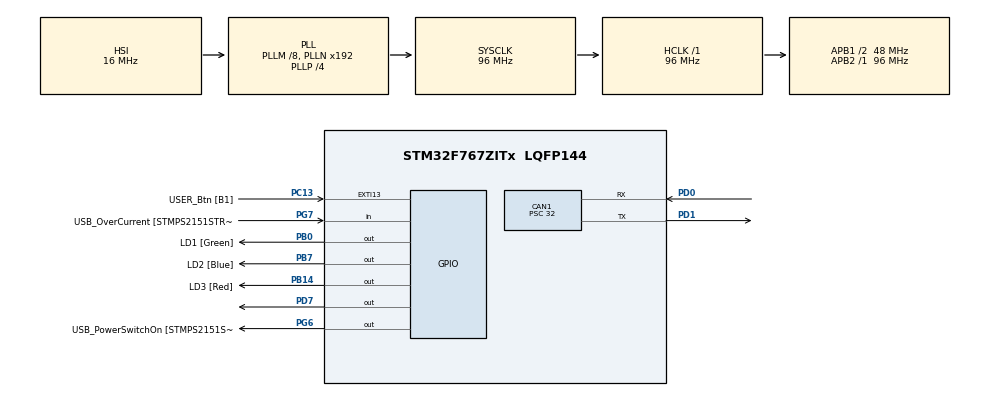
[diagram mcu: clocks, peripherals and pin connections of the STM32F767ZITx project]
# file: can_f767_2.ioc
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CAN1.BS1=CAN_BS1_8TQ
CAN1.BS2=CAN_BS2_6TQ
CAN1.CalculateBaudRate=100000
CAN1.CalculateTimeBit=10000
CAN1.CalculateTimeQuantum=666.6666666666666
CAN1.Prescaler=32
FREERTOS.Tasks01=defaultTask,24,128,StartDefaultTask,Default,NULL,Dynamic,NULL,NULL
FREERTOS.configUSE_NEWLIB_REENTRANT=1
Mcu.Family=STM32F7
Mcu.Name=STM32F767ZITx
Mcu.Package=LQFP144
NVIC.CAN1_RX0_IRQn=true\:5\:0\:false\:false\:true\:true\:true\:true\:true
NVIC.CAN1_TX_IRQn=true\:5\:0\:false\:false\:true\:true\:true\:true\:true
NVIC.PriorityGroup=NVIC_PRIORITYGROUP_4
PA1.GPIO_Label=RMII_REF_CLK [LAN8742A-CZ-TR_REFCLK0]
PA1.Signal=ETH_REF_CLK
PA10.GPIO_Label=USB_ID
PA10.Signal=USB_OTG_FS_ID
PA11.GPIO_Label=USB_DM
PA11.Signal=USB_OTG_FS_DM
PA12.GPIO_Label=USB_DP
PA12.Signal=USB_OTG_FS_DP
PA13.GPIO_Label=TMS
PA13.Signal=SYS_JTMS-SWDIO
PA14.GPIO_Label=TCK
PA14.Signal=SYS_JTCK-SWCLK
PA2.GPIO_Label=RMII_MDIO [LAN8742A-CZ-TR_MDIO]
PA2.Signal=ETH_MDIO
PA7.GPIO_Label=RMII_CRS_DV [LAN8742A-CZ-TR_CRS_DV]
PA7.Signal=ETH_CRS_DV
PA8.GPIO_Label=USB_SOF [TP1]
PA8.Signal=USB_OTG_FS_SOF
PA9.GPIO_Label=USB_VBUS
PA9.Signal=USB_OTG_FS_VBUS
PB0.GPIO_Label=LD1 [Green]
PB0.Signal=GPIO_Output
PB13.GPIO_Label=RMII_TXD1 [LAN8742A-CZ-TR_TXD1]
PB13.Signal=ETH_TXD1
PB14.GPIO_Label=LD3 [Red]
PB14.Signal=GPIO_Output
PB3.GPIO_Label=SW0
PB3.Signal=SYS_JTDO-SWO
PB7.GPIO_Label=LD2 [Blue]
PB7.Signal=GPIO_Output
PC1.GPIO_Label=RMII_MDC [LAN8742A-CZ-TR_MDC]
PC1.Signal=ETH_MDC
PC13.GPIO_Label=USER_Btn [B1]
PC13.Signal=GPXTI13
PC14/OSC32_IN.Signal=RCC_OSC32_IN
PC15/OSC32_OUT.Signal=RCC_OSC32_OUT
PC4.GPIO_Label=RMII_RXD0 [LAN8742A-CZ-TR_RXD0]
PC4.Signal=ETH_RXD0
PC5.GPIO_Label=RMII_RXD1 [LAN8742A-CZ-TR_RXD1]
PC5.Signal=ETH_RXD1
PD0.Mode=CAN_Activate
PD0.Signal=CAN1_RX
PD1.Mode=CAN_Activate
PD1.Signal=CAN1_TX
PD7.Signal=GPIO_Output
PD8.GPIO_Label=STLK_RX [STM32F103CBT6_PA3]
PD8.Signal=USART3_TX
PD9.GPIO_Label=STLK_TX [STM32F103CBT6_PA2]
PD9.Signal=USART3_RX
PG11.GPIO_Label=RMII_TX_EN [LAN8742A-CZ-TR_TXEN]
PG11.Signal=ETH_TX_EN
PG13.GPIO_Label=RMII_TXD0 [LAN8742A-CZ-TR_TXD0]
PG13.Signal=ETH_TXD0
PG6.GPIO_Label=USB_PowerSwitchOn [STMPS2151STR_EN]
PG6.Signal=GPIO_Output
PG7.GPIO_Label=USB_OverCurrent [STMPS2151STR_FAULT]
PG7.Signal=GPIO_Input
PH0/OSC_IN.GPIO_Label=MCO [STM32F103CBT6_PA8]
PH0/OSC_IN.Signal=RCC_OSC_IN
PH1/OSC_OUT.Signal=RCC_OSC_OUT
ProjectManager.HeapSize=0x200
ProjectManager.StackSize=0x400
ProjectManager.TargetToolchain=STM32CubeIDE
RCC.48MHZClocksFreq_Value=24000000
RCC.AHBFreq_Value=96000000
RCC.APB1CLKDivider=RCC_HCLK_DIV2
RCC.APB1Freq_Value=48000000
RCC.APB1TimFreq_Value=96000000
RCC.APB2Freq_Value=96000000
RCC.APB2TimFreq_Value=96000000
RCC.CortexFreq_Value=96000000
RCC.HCLKFreq_Value=96000000
RCC.HSE_VALUE=16000000
RCC.HSI_VALUE=16000000
RCC.LSE_VALUE=32768
RCC.PLLM=8
RCC.PLLMUL=RCC_PLL_MUL9
RCC.PLLP=RCC_PLLP_DIV4
RCC.PRESCALERUSB=RCC_USBCLKSOURCE_PLL_DIV1_5
RCC.SYSCLKFreq_VALUE=96000000
RCC.SYSCLKSource=RCC_SYSCLKSOURCE_PLLCLK
RCC.SYSCLKSourceVirtual=RCC_SYSCLKSOURCE_PLLCLK
RCC.USBFreq_Value=192000000
RCC.VCOOutputFreq_Value=384000000
VP_FREERTOS_VS_CMSIS_V2.Mode=CMSIS_V2
board=NUCLEO-F767ZI

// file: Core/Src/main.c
/* USER CODE BEGIN Header */
/**
 ******************************************************************************
 * @file           : main.c
 * @brief          : Main program body
 ******************************************************************************
 * @attention
 *
 * Copyright (c) 2024 STMicroelectronics.
 * All rights reserved.
 *
 * This software is licensed under terms that can be found in the LICENSE file
 * in the root directory of this software component.
 * If no LICENSE file comes with this software, it is provided AS-IS.
 *
 ******************************************************************************
 */
/* USER CODE END Header */
#include "main.h"
#include "cmsis_os.h"

/* USER CODE BEGIN Includes */
#include "stream_buffer.h"
#include "string.h"
#include "strings.h"
/* USER CODE END Includes */

/* USER CODE BEGIN PD */
#define RECEIVE_BUFFER_LENGTH 10
#define SEND_BUFFER_LENGTH 64
/* USER CODE END PD */

CAN_HandleTypeDef hcan1;

/* Definitions for defaultTask */
osThreadId_t defaultTaskHandle;
const osThreadAttr_t defaultTask_attributes = {
  .name = "defaultTask",
  .stack_size = 128 * 4,
  .priority = (osPriority_t) osPriorityNormal,
};

void SystemClock_Config(void);
static void MX_GPIO_Init(void);
static void MX_CAN1_Init(void);
void StartDefaultTask(void *argument);

/* USER CODE BEGIN 0 */
CAN_RxHeaderTypeDef RxHeader;
uint8_t RxData[8];
static StreamBufferHandle_t xStreamBuffer0 = NULL;
static StreamBufferHandle_t xStreamBuffer1 = NULL;

//9.2.7 Rx FIFO 0 message pending callback.

void HAL_CAN_RxFifo0MsgPendingCallback(CAN_HandleTypeDef *hcan) {
	HAL_CAN_GetRxMessage(hcan, CAN_RX_FIFO0, &RxHeader, RxData);
	size_t sent = xStreamBufferSendFromISR(xStreamBuffer0, RxData, 8, NULL);
	HAL_GPIO_TogglePin(GPIOB, GPIO_PIN_0);
}

static void CanReceiverTask() {
	uint8_t RxDataToProcess[64];
	uint32_t received = 0;
	uint32_t sent = 0;
	for (;;) {
		received += xStreamBufferReceive(xStreamBuffer0, &RxDataToProcess[received], 8, portMAX_DELAY);
		if (received == 64) {
			sent = xStreamBufferSend(xStreamBuffer1, RxDataToProcess, 64, 0);
			memset(RxDataToProcess, 0, 64);
			received = 0;
			HAL_GPIO_TogglePin(GPIOB, GPIO_PIN_7);

		}
	}
}

static void CanSenderTask() {
	uint8_t RxDataToSend[8];
	uint8_t received = 0;
	while(1) {
		received = xStreamBufferReceive(xStreamBuffer1, RxDataToSend, 8, portMAX_DELAY);

	}
}
/* USER CODE END 0 */

int main(void)
{

  /* MCU Configuration--------------------------------------------------------*/

  /* Reset of all peripherals, Initializes the Flash interface and the Systick. */
  HAL_Init();

  /* Configure the system clock */
  SystemClock_Config();

  /* Initialize all configured peripherals */
  MX_GPIO_Init();
  MX_CAN1_Init();
  /* USER CODE BEGIN 2 */
  HAL_CAN_Start(&hcan1);
  //from HAL SDK docs 9.2.1, argument from 9.3.1
  HAL_CAN_ActivateNotification(&hcan1, CAN_IT_RX_FIFO0_MSG_PENDING);

  /* USER CODE END 2 */

  /* Init scheduler */
  osKernelInitialize();

  /* USER CODE BEGIN RTOS_QUEUES */
	/* add queues, ... */
	xStreamBuffer0 = xStreamBufferCreate(RECEIVE_BUFFER_LENGTH, 1);
	configASSERT(NULL != xStreamBuffer0);
	xStreamBuffer1 = xStreamBufferCreate(SEND_BUFFER_LENGTH, 1);
	configASSERT(NULL != xStreamBuffer1);

  /* USER CODE END RTOS_QUEUES */

  /* Create the thread(s) */
  /* creation of defaultTask */
  defaultTaskHandle = osThreadNew(StartDefaultTask, NULL, &defaultTask_attributes);

  /* USER CODE BEGIN RTOS_THREADS */
	/* add threads, ... */

	configASSERT(pdPASS == xTaskCreate(CanReceiverTask, "CanReceiverTask", 128 * 4, NULL,
			tskIDLE_PRIORITY + 1, NULL));

	configASSERT(pdPASS == xTaskCreate(CanSenderTask, "CanSenderTask", 128 * 4, NULL,
			tskIDLE_PRIORITY + 1, NULL));

  /* USER CODE END RTOS_THREADS */

  /* Start scheduler */
  osKernelStart();

  /* We should never get here as control is now taken by the scheduler */

  /* Infinite loop */
	while (1) {

	}
}

void SystemClock_Config(void)
{
  RCC_OscInitTypeDef RCC_OscInitStruct = {0};
  RCC_ClkInitTypeDef RCC_ClkInitStruct = {0};

  /** Configure the main internal regulator output voltage
  */
  __HAL_RCC_PWR_CLK_ENABLE();
  __HAL_PWR_VOLTAGESCALING_CONFIG(PWR_REGULATOR_VOLTAGE_SCALE3);

  /** Initializes the RCC Oscillators according to the specified parameters
  * in the RCC_OscInitTypeDef structure.
  */
  RCC_OscInitStruct.OscillatorType = RCC_OSCILLATORTYPE_HSI;
  RCC_OscInitStruct.HSIState = RCC_HSI_ON;
  RCC_OscInitStruct.HSICalibrationValue = RCC_HSICALIBRATION_DEFAULT;
  RCC_OscInitStruct.PLL.PLLState = RCC_PLL_ON;
  RCC_OscInitStruct.PLL.PLLSource = RCC_PLLSOURCE_HSI;
  RCC_OscInitStruct.PLL.PLLM = 8;
  RCC_OscInitStruct.PLL.PLLN = 192;
  RCC_OscInitStruct.PLL.PLLP = RCC_PLLP_DIV4;
  RCC_OscInitStruct.PLL.PLLQ = 2;
  RCC_OscInitStruct.PLL.PLLR = 2;
  if (HAL_RCC_OscConfig(&RCC_OscInitStruct) != HAL_OK)
  {
    Error_Handler();
  }

  /** Activate the Over-Drive mode
  */
  if (HAL_PWREx_EnableOverDrive() != HAL_OK)
  {
    Error_Handler();
  }

  /** Initializes the CPU, AHB and APB buses clocks
  */
  RCC_ClkInitStruct.ClockType = RCC_CLOCKTYPE_HCLK|RCC_CLOCKTYPE_SYSCLK
                              |RCC_CLOCKTYPE_PCLK1|RCC_CLOCKTYPE_PCLK2;
  RCC_ClkInitStruct.SYSCLKSource = RCC_SYSCLKSOURCE_PLLCLK;
  RCC_ClkInitStruct.AHBCLKDivider = RCC_SYSCLK_DIV1;
  RCC_ClkInitStruct.APB1CLKDivider = RCC_HCLK_DIV2;
  RCC_ClkInitStruct.APB2CLKDivider = RCC_HCLK_DIV1;

  if (HAL_RCC_ClockConfig(&RCC_ClkInitStruct, FLASH_LATENCY_3) != HAL_OK)
  {
    Error_Handler();
  }
}

static void MX_CAN1_Init(void)
{

  hcan1.Instance = CAN1;
  hcan1.Init.Prescaler = 32;
  hcan1.Init.Mode = CAN_MODE_NORMAL;
  hcan1.Init.SyncJumpWidth = CAN_SJW_1TQ;
  hcan1.Init.TimeSeg1 = CAN_BS1_8TQ;
  hcan1.Init.TimeSeg2 = CAN_BS2_6TQ;
  hcan1.Init.TimeTriggeredMode = DISABLE;
  hcan1.Init.AutoBusOff = DISABLE;
  hcan1.Init.AutoWakeUp = DISABLE;
  hcan1.Init.AutoRetransmission = DISABLE;
  hcan1.Init.ReceiveFifoLocked = DISABLE;
  hcan1.Init.TransmitFifoPriority = DISABLE;
  if (HAL_CAN_Init(&hcan1) != HAL_OK)
  {
    Error_Handler();
  }
  /* USER CODE BEGIN CAN1_Init 2 */

	//Filter for KW45's 0x123 messages
	CAN_FilterTypeDef CanFilter0;
	CanFilter0.FilterActivation = CAN_FILTER_ENABLE;
	CanFilter0.FilterBank = 18;
	CanFilter0.FilterFIFOAssignment = CAN_FILTER_FIFO0;
	CanFilter0.FilterIdHigh = 0x123 << 5;
	CanFilter0.FilterIdLow = 0x0;
	CanFilter0.FilterMaskIdHigh = 0x123 << 5;
	CanFilter0.FilterMaskIdLow = 0x0;
	CanFilter0.FilterMode = CAN_FILTERMODE_IDMASK;
	CanFilter0.FilterScale = CAN_FILTERSCALE_32BIT;
	CanFilter0.SlaveStartFilterBank = 20;
	HAL_CAN_ConfigFilter(&hcan1, &CanFilter0);

  /* USER CODE END CAN1_Init 2 */

}

static void MX_GPIO_Init(void)
{
  GPIO_InitTypeDef GPIO_InitStruct = {0};

  /* GPIO Ports Clock Enable */
  __HAL_RCC_GPIOC_CLK_ENABLE();
  __HAL_RCC_GPIOH_CLK_ENABLE();
  __HAL_RCC_GPIOA_CLK_ENABLE();
  __HAL_RCC_GPIOB_CLK_ENABLE();
  __HAL_RCC_GPIOD_CLK_ENABLE();
  __HAL_RCC_GPIOG_CLK_ENABLE();

  /*Configure GPIO pin Output Level */
  HAL_GPIO_WritePin(GPIOB, LD1_Pin|LD3_Pin|LD2_Pin, GPIO_PIN_RESET);

  /*Configure GPIO pin Output Level */
  HAL_GPIO_WritePin(USB_PowerSwitchOn_GPIO_Port, USB_PowerSwitchOn_Pin, GPIO_PIN_RESET);

  /*Configure GPIO pin Output Level */
  HAL_GPIO_WritePin(GPIOD, GPIO_PIN_7, GPIO_PIN_RESET);

  /*Configure GPIO pin : USER_Btn_Pin */
  GPIO_InitStruct.Pin = USER_Btn_Pin;
  GPIO_InitStruct.Mode = GPIO_MODE_IT_RISING;
  GPIO_InitStruct.Pull = GPIO_NOPULL;
  HAL_GPIO_Init(USER_Btn_GPIO_Port, &GPIO_InitStruct);

  /*Configure GPIO pins : RMII_MDC_Pin RMII_RXD0_Pin RMII_RXD1_Pin */
  GPIO_InitStruct.Pin = RMII_MDC_Pin|RMII_RXD0_Pin|RMII_RXD1_Pin;
  GPIO_InitStruct.Mode = GPIO_MODE_AF_PP;
  GPIO_InitStruct.Pull = GPIO_NOPULL;
  GPIO_InitStruct.Speed = GPIO_SPEED_FREQ_VERY_HIGH;
  GPIO_InitStruct.Alternate = GPIO_AF11_ETH;
  HAL_GPIO_Init(GPIOC, &GPIO_InitStruct);

  /*Configure GPIO pins : RMII_REF_CLK_Pin RMII_MDIO_Pin RMII_CRS_DV_Pin */
  GPIO_InitStruct.Pin = RMII_REF_CLK_Pin|RMII_MDIO_Pin|RMII_CRS_DV_Pin;
  GPIO_InitStruct.Mode = GPIO_MODE_AF_PP;
  GPIO_InitStruct.Pull = GPIO_NOPULL;
  GPIO_InitStruct.Speed = GPIO_SPEED_FREQ_VERY_HIGH;
  GPIO_InitStruct.Alternate = GPIO_AF11_ETH;
  HAL_GPIO_Init(GPIOA, &GPIO_InitStruct);

  /*Configure GPIO pins : LD1_Pin LD3_Pin LD2_Pin */
  GPIO_InitStruct.Pin = LD1_Pin|LD3_Pin|LD2_Pin;
  GPIO_InitStruct.Mode = GPIO_MODE_OUTPUT_PP;
  GPIO_InitStruct.Pull = GPIO_NOPULL;
  GPIO_InitStruct.Speed = GPIO_SPEED_FREQ_LOW;
  HAL_GPIO_Init(GPIOB, &GPIO_InitStruct);

  /*Configure GPIO pin : RMII_TXD1_Pin */
  GPIO_InitStruct.Pin = RMII_TXD1_Pin;
  GPIO_InitStruct.Mode = GPIO_MODE_AF_PP;
  GPIO_InitStruct.Pull = GPIO_NOPULL;
  GPIO_InitStruct.Speed = GPIO_SPEED_FREQ_VERY_HIGH;
  GPIO_InitStruct.Alternate = GPIO_AF11_ETH;
  HAL_GPIO_Init(RMII_TXD1_GPIO_Port, &GPIO_InitStruct);

  /*Configure GPIO pins : STLK_RX_Pin STLK_TX_Pin */
  GPIO_InitStruct.Pin = STLK_RX_Pin|STLK_TX_Pin;
  GPIO_InitStruct.Mode = GPIO_MODE_AF_PP;
  GPIO_InitStruct.Pull = GPIO_NOPULL;
  GPIO_InitStruct.Speed = GPIO_SPEED_FREQ_VERY_HIGH;
  GPIO_InitStruct.Alternate = GPIO_AF7_USART3;
  HAL_GPIO_Init(GPIOD, &GPIO_InitStruct);

  /*Configure GPIO pin : USB_PowerSwitchOn_Pin */
  GPIO_InitStruct.Pin = USB_PowerSwitchOn_Pin;
  GPIO_InitStruct.Mode = GPIO_MODE_OUTPUT_PP;
  GPIO_InitStruct.Pull = GPIO_NOPULL;
  GPIO_InitStruct.Speed = GPIO_SPEED_FREQ_LOW;
  HAL_GPIO_Init(USB_PowerSwitchOn_GPIO_Port, &GPIO_InitStruct);

  /*Configure GPIO pin : USB_OverCurrent_Pin */
  GPIO_InitStruct.Pin = USB_OverCurrent_Pin;
  GPIO_InitStruct.Mode = GPIO_MODE_INPUT;
  GPIO_InitStruct.Pull = GPIO_NOPULL;
  HAL_GPIO_Init(USB_OverCurrent_GPIO_Port, &GPIO_InitStruct);

  /*Configure GPIO pins : USB_SOF_Pin USB_ID_Pin USB_DM_Pin USB_DP_Pin */
  GPIO_InitStruct.Pin = USB_SOF_Pin|USB_ID_Pin|USB_DM_Pin|USB_DP_Pin;
  GPIO_InitStruct.Mode = GPIO_MODE_AF_PP;
  GPIO_InitStruct.Pull = GPIO_NOPULL;
  GPIO_InitStruct.Speed = GPIO_SPEED_FREQ_VERY_HIGH;
  GPIO_InitStruct.Alternate = GPIO_AF10_OTG_FS;
  HAL_GPIO_Init(GPIOA, &GPIO_InitStruct);

  /*Configure GPIO pin : USB_VBUS_Pin */
  GPIO_InitStruct.Pin = USB_VBUS_Pin;
  GPIO_InitStruct.Mode = GPIO_MODE_INPUT;
  GPIO_InitStruct.Pull = GPIO_NOPULL;
  HAL_GPIO_Init(USB_VBUS_GPIO_Port, &GPIO_InitStruct);

  /*Configure GPIO pin : PD7 */
  GPIO_InitStruct.Pin = GPIO_PIN_7;
  GPIO_InitStruct.Mode = GPIO_MODE_OUTPUT_PP;
  GPIO_InitStruct.Pull = GPIO_NOPULL;
  GPIO_InitStruct.Speed = GPIO_SPEED_FREQ_LOW;
  HAL_GPIO_Init(GPIOD, &GPIO_InitStruct);

  /*Configure GPIO pins : RMII_TX_EN_Pin RMII_TXD0_Pin */
  GPIO_InitStruct.Pin = RMII_TX_EN_Pin|RMII_TXD0_Pin;
  GPIO_InitStruct.Mode = GPIO_MODE_AF_PP;
  GPIO_InitStruct.Pull = GPIO_NOPULL;
  GPIO_InitStruct.Speed = GPIO_SPEED_FREQ_VERY_HIGH;
  GPIO_InitStruct.Alternate = GPIO_AF11_ETH;
  HAL_GPIO_Init(GPIOG, &GPIO_InitStruct);

}

void StartDefaultTask(void *argument)
{
  /* USER CODE BEGIN 5 */
	/* Infinite loop */
	for (;;) {
//		HAL_GPIO_TogglePin(GPIOB, GPIO_PIN_7);
//		HAL_Delay(1000);
		osDelay(1);
	}
  /* USER CODE END 5 */
}

void Error_Handler(void)
{
	__disable_irq();
	while (1) {
	}
}
